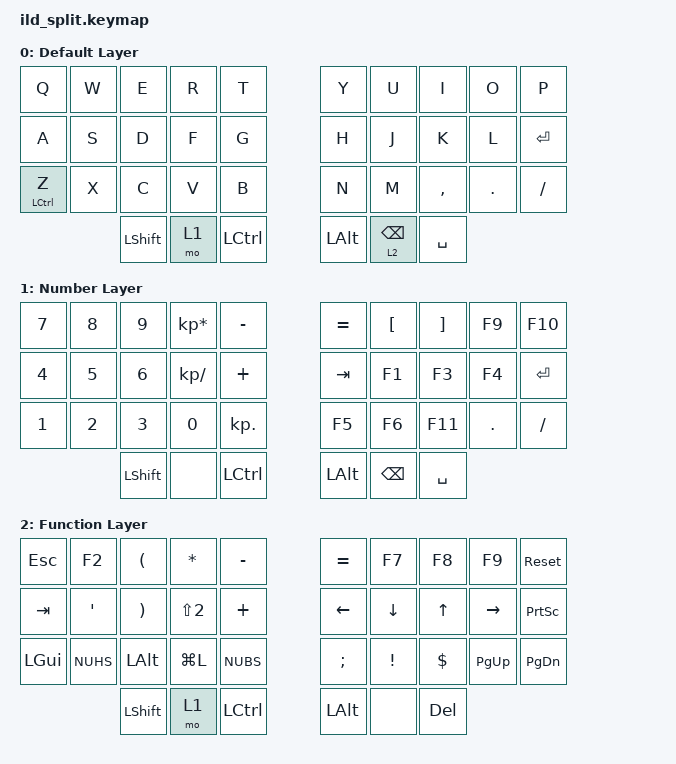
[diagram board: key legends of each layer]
// This file was generated from a template. Edit it to match your keyboard.
// See https://zmk.dev/docs/development/hardware-integration/new-shield for more instructions.

#include <behaviors.dtsi>
#include <dt-bindings/zmk/keys.h>
#include <dt-bindings/zmk/bt.h>  //see https://zmk.dev/docs/keymaps/behaviors/bluetooth
#include <dt-bindings/zmk/outputs.h>  //see https://zmk.dev/docs/keymaps/behaviors/outputs

/ {
    // Define a default keymap here.
    // See https://zmk.dev/docs/development/hardware-integration/new-shield#default-keymap.
    // https://zmk.dev/docs/keymaps

    // LC(C) = LEFT_CONTROL + C
    //see https://zmk.dev/docs/keymaps/modifiers#modifier-functions

    keymap {
        compatible = "zmk,keymap";

        default_layer {
            display-name = "Default Layer";  //layer 0
            bindings = <
                &kp Q  &kp W  &kp E  &kp R  &kp T                   &kp Y &kp U &kp I &kp O &kp P
                &kp A  &kp S  &kp D  &kp F  &kp G                   &kp H &kp J &kp K &kp L &kp RET
//                &mt LC(Z) Z  &mt LC(X) X  &mt LC(C) C  &mt LC(V) V  &kp B    &kp N &kp M &kp COMMA &kp DOT &kp FSLH
                &mt LCTRL Z  &kp X  &kp C  &kp V  &kp B    &kp N &kp M &kp COMMA &kp DOT &kp FSLH
                        &kp LSHFT &mo 1 &kp LCTRL           &kp LALT &lt 2 BSPC &kp SPACE
            >;
        };
        number_layer {
            display-name = "Number Layer";  //layer 1
            bindings = <
                &kp N7  &kp N8  &kp N9  &kp KP_MULTIPLY  &kp MINUS       &kp EQUAL &kp LBKT &kp RBKT &kp F9 &kp F10
                &kp N4  &kp N5  &kp N6  &kp KP_SLASH  &kp PLUS              &kp TAB &kp F1 &kp F3 &kp F4 &kp RET
                &kp N1  &kp N2  &kp N3  &kp N0  &kp KP_DOT                  &kp F5 &kp F6 &kp F11 &kp DOT &kp FSLH
                        &kp LSHFT &none &kp LCTRL                                       &kp LALT &kp BSPC &kp SPACE
            >;
        };
        function_layer {
            display-name = "Function Layer";  //layer 2
            bindings = <
                &kp ESC  &kp F2  &kp LPAR  &kp STAR  &kp MINUS          &kp EQUAL &kp F7 &kp F8 &kp F9 &sys_reset
                &kp TAB  &kp APOS  &kp RPAR  &kp LS(N2)  &kp PLUS          &kp LEFT &kp DOWN &kp UP &kp RIGHT &kp PSCRN
                &kp LGUI  &kp NUHS  &kp LALT  &kp LG(L)  &kp NUBS        &kp SEMI &kp EXCL &kp DLLR &kp PG_UP &kp PG_DN
                        &kp LSHFT &mo 1 &kp LCTRL                       &kp LALT &none &kp DEL
            >;
        };
    };

    combos {  //key position corresponds to number in keymap, Q=0
        compatible = "zmk,combos";
        combo_BT_CLR {
            timeout-ms = <50>;
            key-positions = <0 2>;  //Q - E
            bindings = <&bt BT_CLR>;
        };
        combo_BT_NXT {
            timeout-ms = <50>;
            key-positions = <10 12>;  //A - D
            bindings = <&bt BT_NXT>;
        };
        combo_studio_unlock {
            timeout-ms = <50>;
            key-positions = <0 9>;  //Q - P
            bindings = <&studio_unlock>;
        };
        
        // combo_BT_DISC_0 {    //commented out sinxe will interfere with mult-tap on Z
        //     timeout-ms = <50>;
        //     key-positions = <20 22>;  //Z - C
        //     bindings = <&bt BT_DISC 0>;
        //};
        // combo_BLE_OUT {
        //     timeout-ms = <50>;      //O - P
        //     key-positions = <11 13>;    //see https://zmk.dev/docs/keymaps/behaviors/outputs
        //     bindings = <&out OUT_BLE>;  //allow usage while charging power bank
        // };
        // combo_USB_OUT {
        //     timeout-ms = <50>;      //O - P
        //     key-positions = <1 3>;    //see https://zmk.dev/docs/keymaps/behaviors/outputs
        //     bindings = <&out OUT_USB>;  //allow usage while charging power bank
        // };
    };
};

            // bindings = <
            //     &kp 00  &kp 01  &kp 02  &kp 03  &kp 04    &kp 05 &kp 06 &kp 07 &kp 08 &kp 09
            //     &kp 10  &kp 11  &kp 12  &kp 13  &kp 14    &kp 15 &kp 16 &kp 17 &kp 18 &kp 19
            //     &kp 20  &kp 21  &kp 22  &kp 23  &kp 24    &kp 25 &kp 26 &kp 27 &kp 28 &kp 29
            //                         &kp 30 &kp 31 &kp 32    &kp 37 &kp 36 &kp 35
            // >;
// keymap needs to match the matrix transform defined in *.dtsi
    // default_transform: default_transform {
    //     // See https://zmk.dev/docs/development/hardware-integration/new-shield#matrix-transform
    //     // for how to configure this
    //     compatible = "zmk,matrix-transform";
    //     columns = <10>;
    //     rows = <4>;

    //     map = <
    //         RC(0,0)  RC(0,1)  RC(0,2)  RC(0,3)  RC(0,4)    RC(0,5) RC(0,6) RC(0,7) RC(0,8) RC(0,9)
    //         RC(1,0)  RC(1,1)  RC(1,2)  RC(1,3)  RC(1,4)    RC(1,5) RC(1,6) RC(1,7) RC(1,8) RC(1,9)
    //         RC(2,0)  RC(2,1)  RC(2,2)  RC(2,3)  RC(2,4)    RC(2,5) RC(2,6) RC(2,7) RC(2,8) RC(2,9)
    //                             RC(3,0) RC(3,1) RC(3,2)    RC(3,7) RC(3,6) RC(3,5)
    //     >;

//       uint32_t layer0_tap[MATRIX_ROWS][MATRIX_COLS] =
//     KEYMAP(
//     KC_Q,    KC_W,    KC_E,    KC_R,    KC_T,    KC_Y,          KC_U,    KC_I,    KC_O,    KC_P,
//     KC_A,    KC_S,    KC_D,    KC_F,    KC_G,    KC_H,          KC_J,    KC_K,    KC_L,    KC_ENTER,
//     KC_Z,   KC_X,   KC_C,   KC_V,   KC_B, KC_N,  KC_M,   KC_COMM,   KC_DOT,   KC_SLSH,
//     KC_LSHIFT, KC_NO,   KC_BSPC,KC_SPC
//     );

//       uint32_t layer1[MATRIX_ROWS][MATRIX_COLS] =
//     KEYMAP(
//     KC_7,KC_8,KC_9,KC_KP_ASTERISK,KC_MINUS,    KC_EQUAL,KC_LBRACKET,KC_RBRACKET,PRINT_BATTERY,BLEPROFILE_1,
//     KC_4,KC_5,KC_6,KC_KP_SLASH,KC_KP_PLUS,          KC_TAB,KC_F1,KC_F3,KC_F4,KC_ENTER,
//     KC_1,KC_2,KC_3,KC_0,KC_KP_DOT,                  KC_F5,KC_F6,KC_F11,KC_NO,KC_NO,
//     KC_LSHIFT, LAYER_1,                         KC_BSPC,KC_SPC

//     );

//   uint32_t layer3[MATRIX_ROWS][MATRIX_COLS] =
//     KEYMAP(
//     PRINT_BATTERY,KC_NO,KC_NO,KC_NO,KC_NO,    KC_NO,KC_NO,KC_NO,KC_NO,KC_NO,
//     BLEPROFILE_1,BLEPROFILE_2,BLEPROFILE_3,KC_NO,KC_NO,          KC_NO,KC_NO,KC_NO,KC_NO,KC_NO,
//     KC_NO,KC_NO,KC_NO,KC_NO,KC_NO,                  KC_NO,KC_NO,KC_NO,KC_NO,KC_NO,
//     KC_NO, KC_NO,                         KC_NO,KC_NO

//     );

//   uint32_t layer2[MATRIX_ROWS][MATRIX_COLS] =
//     KEYMAP(
//     KC_ESCAPE,KC_F2,KC_LPN,KC_KP_ASTERISK,KC_MINUS,              KC_EQUAL,KC_F7,KC_F8,KC_F9,KC_F10,
//     KC_TAB,KC_QUOTE,KC_RPN,KC_QUOTES,KC_KP_PLUS,                  KC_LEFT,KC_DOWN,KC_UP,KC_RIGHT,KC_PSCREEN,
//     KC_LGUI,KC_NONUS_HASH,KC_LALT,KC_GUI_L,KC_NONUS_BSLASH,       KC_SCOLON,KC_EXLM,KC_DLR,KC_PGUP,KC_PGDOWN,
//     KC_LSHIFT, KC_NO,                                             LAYER_2, KC_DELETE 

//     );
